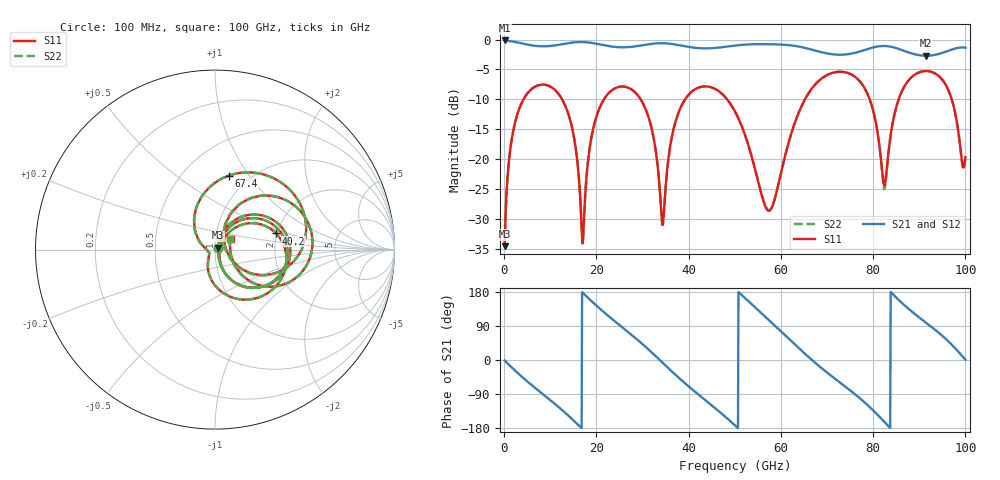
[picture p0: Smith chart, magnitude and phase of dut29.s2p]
! Touchstone file exported from HFSS 2026.1.0
!  File:  C:/ffzhzh/LocalFiles/Ansys_Project_Files/temp_train_TSV_RDL_29_1783616276_26216.aedt
!  Generated:  01:14:21 AM Jul 10, 2026
!  Design:  TSV_RDL
!  Project:  temp_train_TSV_RDL_29_1783616276_26216
! Variables:
!  h_bsmrdl = 2.27um
!  h_ox = 20um
!  h_rdl = 5um
!  h_sub = 62.12um
!  h_tmrdl = 4.66um
!  h_tsv = 62.12um
!  h_via = 3um
!  l_bsmrdl = 298.59um
!  l_sub = 3765.41um
!  l_tmrdl = 581.98um
!  m_sub = 200um
!  pitch = 43.16um
!  r_tsv = 7.23um
!  s_tmrdl = 10um
!  w_bsmrdl = 20.23um
!  w_sub = 500um
!  w_tmrdl = 27.01um
!  x_tsv_center1 = 595.485um
!  x_tsv_center2 = 914.305um
!  x_tsv_center3 = 1523.295um
!  x_tsv_center4 = 1842.115um
!  x_tsv_center5 = 2451.105um
!  x_tsv_center6 = 2769.925um
# GHz S MA R 50.000000
! Terminal data exported
! Port[1] = TM_RDL1_1_T1
! Port[2] = TM_RDL5_1_T1
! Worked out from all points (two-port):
!   1000 points, 100 MHz to 100 GHz, reference 50 ohm
!   highest |S21| = -0.14 dB at 100 MHz (marker M1); lowest = -2.7 dB at 91.5 GHz (marker M2)
!   |S21| within 3 dB of the highest: start of sweep to end of sweep
!   lowest |S11| = -34.6 dB at 100 MHz (marker M3), VSWR 1.04, Z = 51.6 + j1.04 ohm
!   |S11| at or under -10 dB: 12.56 GHz to 21.65 GHz (9.084 GHz wide, 53.1 % of centre); 29.59 GHz to 39.24 GHz (9.646 GHz wide, 28 % of centre); 48.33 GHz to 65.22 GHz (16.89 GHz wide, 29.7 % of centre) (the widest 3 of 6)
!   |S22| runs from -34.6 to -5.3 dB; largest |S21 - S12| = 1.7e-14
!   S11 on the Smith chart (normalised r, x): 100 MHz: 1.03, +0.02; 40.2 GHz: 1.98, +0.41; 67.4 GHz: 0.81, +0.81; 100 GHz: 1.18, +0.14
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0.1  0.01862 32.6  0.9845 -1.3  0.9845 -1.3  0.01862 32.6
! Gamma 0 0 0 0
! Port Impedance 50 0 50 0
2.5  0.2117 54.4  0.9544 -29.5  0.9544 -29.5  0.2117 54.4
8  0.4193 1.2  0.8802 -86.2  0.8802 -86.2  0.4194 1.2
14  0.2328 -56.0  0.9355 -147.7  0.9355 -147.7  0.2329 -56.0
16.8  0.02646 -44.1  0.9548 -179.9  0.9548 -179.9  0.02643 -44.3
19.5  0.1932 52.0  0.9313 149.1  0.9313 149.1  0.1931 51.9
23.8  0.3867 11.5  0.8709 104.0  0.8709 104.0  0.3867 11.5
30  0.297 -46.0  0.898 41.9  0.898 41.9  0.297 -46.1
33.4  0.07883 -67.4  0.9324 3.9  0.9324 3.9  0.07882 -67.4
34.4  0.02806 -1.3  0.9333 -7.7  0.9333 -7.7  0.02818 -1.3
36.6  0.1697 47.0  0.9168 -33.0  0.9168 -33.0  0.1698 46.9
40.2  0.3524 14.8  0.8671 -71.7  0.8671 -71.7  0.3524 14.7
50.1  0.2477 -78.9  0.8924 -172.9  0.8924 -172.9  0.2478 -78.6
58.5  0.04394 -176.8  0.9139 92.9  0.9139 92.9  0.04395 -173.1
66.7  0.3888 86.3  0.8245 0.3  0.8245 0.3  0.3885 86.5
67.4  0.4195 79.4  0.8108 -7.0  0.8108 -7.0  0.4192 79.5
76.9  0.4571 -5.6  0.7911 -98.7  0.7911 -98.7  0.4569 -6.0
82.3  0.0614 3.7  0.8854 -161.6  0.8854 -161.6  0.05765 2.7
83.4  0.121 64.4  0.8787 -175.5  0.8787 -175.5  0.1191 65.9
91.5  0.5456 7.5  0.733 98.1  0.733 98.1  0.5455 7.5
96.1  0.3934 -31.4  0.8018 51.6  0.8018 51.6  0.3932 -31.6
100  0.1037 33.4  0.856 0.6  0.856 0.6  0.1014 34.2
